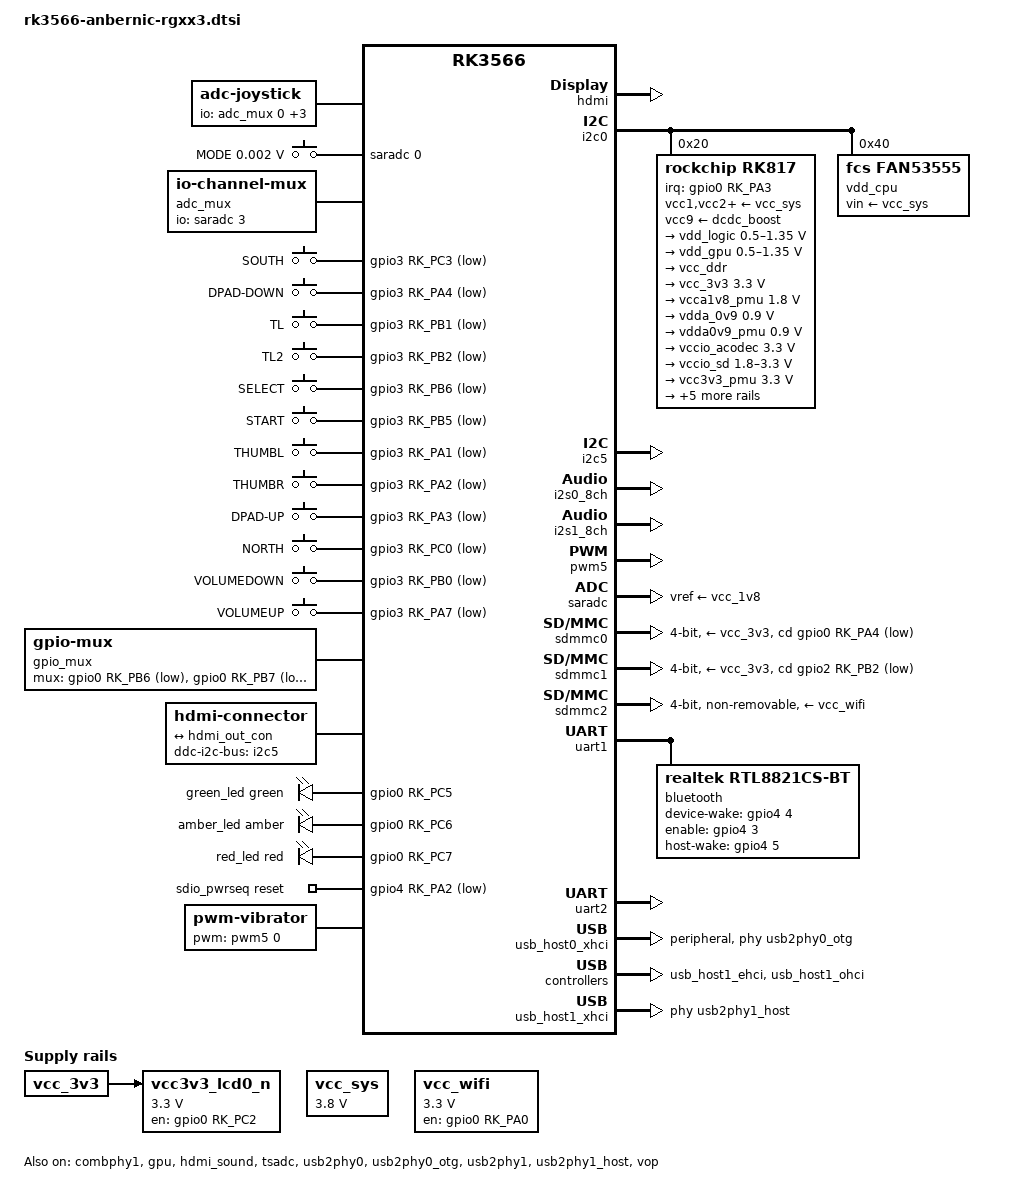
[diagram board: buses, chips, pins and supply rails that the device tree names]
// SPDX-License-Identifier: (GPL-2.0+ OR MIT)

/dts-v1/;

#include <dt-bindings/gpio/gpio.h>
#include <dt-bindings/input/linux-event-codes.h>
#include <dt-bindings/leds/common.h>
#include <dt-bindings/pinctrl/rockchip.h>
#include <dt-bindings/soc/rockchip,vop2.h>
#include "rk3566.dtsi"

/ {
	chosen: chosen {
		stdout-path = "serial2:1500000n8";
	};

	adc-joystick {
		compatible = "adc-joystick";
		io-channels = <&adc_mux 0>,
			      <&adc_mux 1>,
			      <&adc_mux 2>,
			      <&adc_mux 3>;
		pinctrl-0 = <&joy_mux_en>;
		pinctrl-names = "default";
		poll-interval = <60>;
		#address-cells = <1>;
		#size-cells = <0>;

		axis@0 {
			reg = <0>;
			abs-flat = <32>;
			abs-fuzz = <32>;
			abs-range = <1023 15>;
			linux,code = <ABS_X>;
		};

		axis@1 {
			reg = <1>;
			abs-flat = <32>;
			abs-fuzz = <32>;
			abs-range = <15 1023>;
			linux,code = <ABS_RX>;
		};

		axis@2 {
			reg = <2>;
			abs-flat = <32>;
			abs-fuzz = <32>;
			abs-range = <15 1023>;
			linux,code = <ABS_Y>;
		};

		axis@3 {
			reg = <3>;
			abs-flat = <32>;
			abs-fuzz = <32>;
			abs-range = <1023 15>;
			linux,code = <ABS_RY>;
		};
	};

	adc_keys: adc-keys {
		compatible = "adc-keys";
		io-channels = <&saradc 0>;
		io-channel-names = "buttons";
		keyup-threshold-microvolt = <1800000>;
		poll-interval = <60>;

		/*
		 * Button is mapped to F key in BSP kernel, but
		 * according to input guidelines it should be mode.
		 */
		button-mode {
			label = "MODE";
			linux,code = <BTN_MODE>;
			press-threshold-microvolt = <1750>;
		};
	};

	adc_mux: adc-mux {
		compatible = "io-channel-mux";
		channels = "left_x", "right_x", "left_y", "right_y";
		#io-channel-cells = <1>;
		io-channels = <&saradc 3>;
		io-channel-names = "parent";
		mux-controls = <&gpio_mux>;
		settle-time-us = <100>;
	};

	gpio_keys_control: gpio-keys-control {
		compatible = "gpio-keys";
		pinctrl-0 = <&btn_pins_ctrl>;
		pinctrl-names = "default";

		button-b {
			gpios = <&gpio3 RK_PC3 GPIO_ACTIVE_LOW>;
			label = "SOUTH";
			linux,code = <BTN_SOUTH>;
		};

		button-down {
			gpios = <&gpio3 RK_PA4 GPIO_ACTIVE_LOW>;
			label = "DPAD-DOWN";
			linux,code = <BTN_DPAD_DOWN>;
		};

		button-l1 {
			gpios = <&gpio3 RK_PB1 GPIO_ACTIVE_LOW>;
			label = "TL";
			linux,code = <BTN_TL>;
		};

		button-l2 {
			gpios = <&gpio3 RK_PB2 GPIO_ACTIVE_LOW>;
			label = "TL2";
			linux,code = <BTN_TL2>;
		};

		button-select {
			gpios = <&gpio3 RK_PB6 GPIO_ACTIVE_LOW>;
			label = "SELECT";
			linux,code = <BTN_SELECT>;
		};

		button-start {
			gpios = <&gpio3 RK_PB5 GPIO_ACTIVE_LOW>;
			label = "START";
			linux,code = <BTN_START>;
		};

		button-thumbl {
			gpios = <&gpio3 RK_PA1 GPIO_ACTIVE_LOW>;
			label = "THUMBL";
			linux,code = <BTN_THUMBL>;
		};

		button-thumbr {
			gpios = <&gpio3 RK_PA2 GPIO_ACTIVE_LOW>;
			label = "THUMBR";
			linux,code = <BTN_THUMBR>;
		};

		button-up {
			gpios = <&gpio3 RK_PA3 GPIO_ACTIVE_LOW>;
			label = "DPAD-UP";
			linux,code = <BTN_DPAD_UP>;
		};

		button-x {
			gpios = <&gpio3 RK_PC0 GPIO_ACTIVE_LOW>;
			label = "NORTH";
			linux,code = <BTN_NORTH>;
		};
	};

	gpio_keys_vol: gpio-keys-vol {
		compatible = "gpio-keys";
		autorepeat;
		pinctrl-0 = <&btn_pins_vol>;
		pinctrl-names = "default";

		button-vol-down {
			gpios = <&gpio3 RK_PB0 GPIO_ACTIVE_LOW>;
			label = "VOLUMEDOWN";
			linux,code = <KEY_VOLUMEDOWN>;
		};

		button-vol-up {
			gpios = <&gpio3 RK_PA7 GPIO_ACTIVE_LOW>;
			label = "VOLUMEUP";
			linux,code = <KEY_VOLUMEUP>;
		};
	};

	gpio_mux: mux-controller {
		compatible = "gpio-mux";
		mux-gpios = <&gpio0 RK_PB6 GPIO_ACTIVE_LOW>,
			    <&gpio0 RK_PB7 GPIO_ACTIVE_LOW>;
		#mux-control-cells = <0>;
	};

	hdmi-con {
		compatible = "hdmi-connector";
		ddc-i2c-bus = <&i2c5>;
		type = "c";

		port {
			hdmi_con_in: endpoint {
				remote-endpoint = <&hdmi_out_con>;
			};
		};
	};

	leds: gpio-leds {
		compatible = "gpio-leds";
		pinctrl-0 = <&led_pins>;
		pinctrl-names = "default";

		green_led: led-0 {
			color = <LED_COLOR_ID_GREEN>;
			default-state = "on";
			function = LED_FUNCTION_POWER;
			gpios = <&gpio0 RK_PC5 GPIO_ACTIVE_HIGH>;
		};

		amber_led: led-1 {
			color = <LED_COLOR_ID_AMBER>;
			function = LED_FUNCTION_CHARGING;
			gpios = <&gpio0 RK_PC6 GPIO_ACTIVE_HIGH>;
			retain-state-suspended;
		};

		red_led: led-2 {
			color = <LED_COLOR_ID_RED>;
			default-state = "off";
			function = LED_FUNCTION_STATUS;
			gpios = <&gpio0 RK_PC7 GPIO_ACTIVE_HIGH>;
		};
	};

	sdio_pwrseq: sdio-pwrseq {
		compatible = "mmc-pwrseq-simple";
		clocks = <&rk817 1>;
		clock-names = "ext_clock";
		pinctrl-0 = <&wifi_enable_h>;
		pinctrl-names = "default";
		post-power-on-delay-ms = <200>;
		reset-gpios = <&gpio4 RK_PA2 GPIO_ACTIVE_LOW>;
	};

	vcc3v3_lcd0_n: regulator-vcc3v3-lcd0 {
		compatible = "regulator-fixed";
		gpio = <&gpio0 RK_PC2 GPIO_ACTIVE_HIGH>;
		enable-active-high;
		pinctrl-0 = <&vcc_lcd_h>;
		pinctrl-names = "default";
		regulator-boot-on;
		regulator-min-microvolt = <3300000>;
		regulator-max-microvolt = <3300000>;
		regulator-name = "vcc3v3_lcd0_n";
		vin-supply = <&vcc_3v3>;
		regulator-state-mem {
			regulator-off-in-suspend;
		};
	};

	vcc_sys: regulator-vcc-sys {
		compatible = "regulator-fixed";
		regulator-always-on;
		regulator-boot-on;
		regulator-min-microvolt = <3800000>;
		regulator-max-microvolt = <3800000>;
		regulator-name = "vcc_sys";
	};

	vcc_wifi: regulator-vcc-wifi {
		compatible = "regulator-fixed";
		enable-active-high;
		gpio = <&gpio0 RK_PA0 GPIO_ACTIVE_HIGH>;
		pinctrl-0 = <&vcc_wifi_h>;
		pinctrl-names = "default";
		regulator-always-on;
		regulator-boot-on;
		regulator-min-microvolt = <3300000>;
		regulator-max-microvolt = <3300000>;
		regulator-name = "vcc_wifi";
	};

	vibrator: pwm-vibrator {
		compatible = "pwm-vibrator";
		pwm-names = "enable";
		pwms = <&pwm5 0 1000000000 0>;
	};
};

&combphy1 {
	status = "okay";
};

&cpu0 {
	cpu-supply = <&vdd_cpu>;
};

&cpu1 {
	cpu-supply = <&vdd_cpu>;
};

&cpu2 {
	cpu-supply = <&vdd_cpu>;
};

&cpu3 {
	cpu-supply = <&vdd_cpu>;
};

&gpu {
	mali-supply = <&vdd_gpu>;
	status = "okay";
};

&hdmi {
	ddc-i2c-bus = <&i2c5>;
	pinctrl-0 = <&hdmitxm0_cec>;
	pinctrl-names = "default";
	status = "okay";
};

&hdmi_in {
	hdmi_in_vp0: endpoint {
		remote-endpoint = <&vp0_out_hdmi>;
	};
};

&hdmi_out {
	hdmi_out_con: endpoint {
		remote-endpoint = <&hdmi_con_in>;
	};
};

&hdmi_sound {
	status = "okay";
};

&i2c0 {
	status = "okay";

	rk817: pmic@20 {
		compatible = "rockchip,rk817";
		reg = <0x20>;
		interrupt-parent = <&gpio0>;
		interrupts = <RK_PA3 IRQ_TYPE_LEVEL_LOW>;
		clock-output-names = "rk808-clkout1", "rk808-clkout2";
		clock-names = "mclk";
		clocks = <&cru I2S1_MCLKOUT_TX>;
		assigned-clocks = <&cru I2S1_MCLKOUT_TX>;
		assigned-clock-parents = <&cru CLK_I2S1_8CH_TX>;
		#clock-cells = <1>;
		#sound-dai-cells = <0>;
		pinctrl-names = "default";
		pinctrl-0 = <&i2s1m0_mclk>, <&pmic_int_l>;
		wakeup-source;

		vcc1-supply = <&vcc_sys>;
		vcc2-supply = <&vcc_sys>;
		vcc3-supply = <&vcc_sys>;
		vcc4-supply = <&vcc_sys>;
		vcc5-supply = <&vcc_sys>;
		vcc6-supply = <&vcc_sys>;
		vcc7-supply = <&vcc_sys>;
		vcc8-supply = <&vcc_sys>;
		vcc9-supply = <&dcdc_boost>;

		regulators {
			vdd_logic: DCDC_REG1 {
				regulator-always-on;
				regulator-boot-on;
				regulator-min-microvolt = <500000>;
				regulator-max-microvolt = <1350000>;
				regulator-init-microvolt = <900000>;
				regulator-ramp-delay = <6001>;
				regulator-initial-mode = <0x2>;
				regulator-name = "vdd_logic";
				regulator-state-mem {
					regulator-off-in-suspend;
					regulator-suspend-microvolt = <900000>;
				};
			};

			vdd_gpu: DCDC_REG2 {
				regulator-always-on;
				regulator-boot-on;
				regulator-min-microvolt = <500000>;
				regulator-max-microvolt = <1350000>;
				regulator-init-microvolt = <900000>;
				regulator-ramp-delay = <6001>;
				regulator-initial-mode = <0x2>;
				regulator-name = "vdd_gpu";
				regulator-state-mem {
					regulator-off-in-suspend;
				};
			};

			vcc_ddr: DCDC_REG3 {
				regulator-always-on;
				regulator-boot-on;
				regulator-initial-mode = <0x2>;
				regulator-name = "vcc_ddr";
				regulator-state-mem {
					regulator-on-in-suspend;
				};
			};

			vcc_3v3: DCDC_REG4 {
				regulator-always-on;
				regulator-boot-on;
				regulator-min-microvolt = <3300000>;
				regulator-max-microvolt = <3300000>;
				regulator-initial-mode = <0x2>;
				regulator-name = "vcc_3v3";
				regulator-state-mem {
					regulator-on-in-suspend;
					regulator-suspend-microvolt = <3300000>;
				};
			};

			vcca1v8_pmu: LDO_REG1 {
				regulator-always-on;
				regulator-boot-on;
				regulator-min-microvolt = <1800000>;
				regulator-max-microvolt = <1800000>;
				regulator-name = "vcca1v8_pmu";
				regulator-state-mem {
					regulator-on-in-suspend;
					regulator-suspend-microvolt = <1800000>;
				};
			};

			vdda_0v9: LDO_REG2 {
				regulator-always-on;
				regulator-boot-on;
				regulator-min-microvolt = <900000>;
				regulator-max-microvolt = <900000>;
				regulator-name = "vdda_0v9";
				regulator-state-mem {
					regulator-off-in-suspend;
				};
			};

			vdda0v9_pmu: LDO_REG3 {
				regulator-always-on;
				regulator-boot-on;
				regulator-min-microvolt = <900000>;
				regulator-max-microvolt = <900000>;
				regulator-name = "vdda0v9_pmu";
				regulator-state-mem {
					regulator-on-in-suspend;
					regulator-suspend-microvolt = <900000>;
				};
			};

			vccio_acodec: LDO_REG4 {
				regulator-always-on;
				regulator-boot-on;
				regulator-min-microvolt = <3300000>;
				regulator-max-microvolt = <3300000>;
				regulator-name = "vccio_acodec";
				regulator-state-mem {
					regulator-off-in-suspend;
				};
			};

			vccio_sd: LDO_REG5 {
				regulator-always-on;
				regulator-boot-on;
				regulator-min-microvolt = <1800000>;
				regulator-max-microvolt = <3300000>;
				regulator-name = "vccio_sd";
				regulator-state-mem {
					regulator-off-in-suspend;
				};
			};

			vcc3v3_pmu: LDO_REG6 {
				regulator-always-on;
				regulator-boot-on;
				regulator-min-microvolt = <3300000>;
				regulator-max-microvolt = <3300000>;
				regulator-name = "vcc3v3_pmu";
				regulator-state-mem {
					regulator-on-in-suspend;
					regulator-suspend-microvolt = <3300000>;
				};
			};

			vcc_1v8: LDO_REG7 {
				regulator-always-on;
				regulator-boot-on;
				regulator-min-microvolt = <1800000>;
				regulator-max-microvolt = <1800000>;
				regulator-name = "vcc_1v8";
				regulator-state-mem {
					regulator-off-in-suspend;
				};
			};

			vcc1v8_dvp: LDO_REG8 {
				regulator-always-on;
				regulator-boot-on;
				regulator-min-microvolt = <1800000>;
				regulator-max-microvolt = <3300000>;
				regulator-name = "vcc1v8_dvp";
				regulator-state-mem {
					regulator-off-in-suspend;
				};
			};

			vcc2v8_dvp: LDO_REG9 {
				regulator-always-on;
				regulator-boot-on;
				regulator-min-microvolt = <2800000>;
				regulator-max-microvolt = <2800000>;
				regulator-name = "vcc2v8_dvp";
				regulator-state-mem {
					regulator-off-in-suspend;
				};
			};

			dcdc_boost: BOOST {
				regulator-always-on;
				regulator-boot-on;
				regulator-min-microvolt = <4700000>;
				regulator-max-microvolt = <5400000>;
				regulator-name = "boost";
				regulator-state-mem {
					regulator-off-in-suspend;
				};
			};

			otg_switch: OTG_SWITCH {
				regulator-name = "otg_switch";
				regulator-state-mem {
					regulator-off-in-suspend;
				};
			};
		};
	};

	vdd_cpu: regulator@40 {
		compatible = "fcs,fan53555";
		reg = <0x40>;
		fcs,suspend-voltage-selector = <1>;
		regulator-always-on;
		regulator-boot-on;
		regulator-min-microvolt = <712500>;
		regulator-max-microvolt = <1390000>;
		regulator-init-microvolt = <900000>;
		regulator-name = "vdd_cpu";
		regulator-ramp-delay = <2300>;
		vin-supply = <&vcc_sys>;
		regulator-state-mem {
			regulator-off-in-suspend;
		};
	};
};

&i2c1 {
	/* Unknown/unused device at 0x3c */
	status = "disabled";
};

&i2c5 {
	pinctrl-0 = <&i2c5m1_xfer>;
	pinctrl-names = "default";
	status = "okay";
};

&i2s0_8ch {
	status = "okay";
};

&i2s1_8ch {
	pinctrl-0 = <&i2s1m0_sclktx
		     &i2s1m0_lrcktx
		     &i2s1m0_sdi0
		     &i2s1m0_sdo0>;
	pinctrl-names = "default";
	rockchip,trcm-sync-tx-only;
	status = "okay";
};

&pinctrl {
	gpio-btns {
		btn_pins_ctrl: btn-pins-ctrl {
			rockchip,pins =
				<3 RK_PA1 RK_FUNC_GPIO &pcfg_pull_up>,
				<3 RK_PA2 RK_FUNC_GPIO &pcfg_pull_up>,
				<3 RK_PA3 RK_FUNC_GPIO &pcfg_pull_up>,
				<3 RK_PA4 RK_FUNC_GPIO &pcfg_pull_up>,
				<3 RK_PA5 RK_FUNC_GPIO &pcfg_pull_up>,
				<3 RK_PA6 RK_FUNC_GPIO &pcfg_pull_up>,
				<3 RK_PB1 RK_FUNC_GPIO &pcfg_pull_up>,
				<3 RK_PB2 RK_FUNC_GPIO &pcfg_pull_up>,
				<3 RK_PB3 RK_FUNC_GPIO &pcfg_pull_up>,
				<3 RK_PB4 RK_FUNC_GPIO &pcfg_pull_up>,
				<3 RK_PB5 RK_FUNC_GPIO &pcfg_pull_up>,
				<3 RK_PB6 RK_FUNC_GPIO &pcfg_pull_up>,
				<3 RK_PC0 RK_FUNC_GPIO &pcfg_pull_up>,
				<3 RK_PC1 RK_FUNC_GPIO &pcfg_pull_up>,
				<3 RK_PC2 RK_FUNC_GPIO &pcfg_pull_up>,
				<3 RK_PC3 RK_FUNC_GPIO &pcfg_pull_up>;
		};

		btn_pins_vol: btn-pins-vol {
			rockchip,pins =
			<3 RK_PA7 RK_FUNC_GPIO &pcfg_pull_up>,
			<3 RK_PB0 RK_FUNC_GPIO &pcfg_pull_up>;
		};
	};

	gpio-led {
		led_pins: led-pins {
			rockchip,pins =
				<0 RK_PC5 RK_FUNC_GPIO &pcfg_pull_none>,
				<0 RK_PC6 RK_FUNC_GPIO &pcfg_pull_none>,
				<0 RK_PC7 RK_FUNC_GPIO &pcfg_pull_none>;
		};
	};

	joy-mux {
		joy_mux_en: joy-mux-en {
			rockchip,pins =
				<0 RK_PB5 RK_FUNC_GPIO &pcfg_output_low>;
		};
	};

	pmic {
		pmic_int_l: pmic-int-l {
			rockchip,pins =
				<0 RK_PA3 RK_FUNC_GPIO &pcfg_pull_up>;
		};
	};

	sdio-pwrseq {
		wifi_enable_h: wifi-enable-h {
			rockchip,pins =
				<4 RK_PA2 RK_FUNC_GPIO &pcfg_pull_none>;
		};
	};

	vcc3v3-lcd {
		vcc_lcd_h: vcc-lcd-h {
			rockchip,pins =
				<0 RK_PC2 RK_FUNC_GPIO &pcfg_pull_none>;
		};
	};

	vcc-wifi {
		vcc_wifi_h: vcc-wifi-h {
			rockchip,pins =
				<0 RK_PA0 RK_FUNC_GPIO &pcfg_pull_none>;
		};
	};
};

&pmu_io_domains {
	status = "okay";
	pmuio1-supply = <&vcc3v3_pmu>;
	pmuio2-supply = <&vcc3v3_pmu>;
	vccio1-supply = <&vccio_acodec>;
	vccio3-supply = <&vccio_sd>;
	vccio4-supply = <&vcc_1v8>;
	vccio5-supply = <&vcc_3v3>;
	vccio6-supply = <&vcc1v8_dvp>;
	vccio7-supply = <&vcc_3v3>;
};

&pwm5 {
	status = "okay";
};

&saradc {
	vref-supply = <&vcc_1v8>;
	status = "okay";
};

&sdmmc0 {
	bus-width = <4>;
	cap-sd-highspeed;
	cd-gpios = <&gpio0 RK_PA4 GPIO_ACTIVE_LOW>;
	disable-wp;
	pinctrl-0 = <&sdmmc0_bus4 &sdmmc0_clk &sdmmc0_cmd &sdmmc0_det>;
	pinctrl-names = "default";
	sd-uhs-sdr104;
	vmmc-supply = <&vcc_3v3>;
	vqmmc-supply = <&vccio_sd>;
	status = "okay";
};

&sdmmc1 {
	bus-width = <4>;
	cap-sd-highspeed;
	cd-gpios = <&gpio2 RK_PB2 GPIO_ACTIVE_LOW>;
	disable-wp;
	pinctrl-0 = <&sdmmc1_bus4 &sdmmc1_cmd &sdmmc1_clk &sdmmc1_det>;
	pinctrl-names = "default";
	sd-uhs-sdr104;
	vmmc-supply = <&vcc_3v3>;
	vqmmc-supply = <&vcc1v8_dvp>;
	status = "okay";
};

&sdmmc2 {
	bus-width = <4>;
	cap-sd-highspeed;
	cap-sdio-irq;
	keep-power-in-suspend;
	mmc-pwrseq = <&sdio_pwrseq>;
	non-removable;
	pinctrl-0 = <&sdmmc2m0_bus4 &sdmmc2m0_cmd &sdmmc2m0_clk>;
	pinctrl-names = "default";
	vmmc-supply = <&vcc_wifi>;
	vqmmc-supply = <&vcca1v8_pmu>;
	status = "okay";
};

&tsadc {
	rockchip,hw-tshut-mode = <1>;
	rockchip,hw-tshut-polarity = <0>;
	status = "okay";
};

&uart1 {
	pinctrl-0 = <&uart1m1_xfer &uart1m1_ctsn &uart1m1_rtsn>;
	pinctrl-names = "default";
	uart-has-rtscts;
	status = "okay";

	bluetooth {
		compatible = "realtek,rtl8821cs-bt", "realtek,rtl8822cs-bt";
		device-wake-gpios = <&gpio4 4 GPIO_ACTIVE_HIGH>;
		enable-gpios = <&gpio4 3 GPIO_ACTIVE_HIGH>;
		host-wake-gpios = <&gpio4 5 GPIO_ACTIVE_HIGH>;
	};
};

&uart2 {
	status = "okay";
};

/*
 * Lack the schematics to verify, but port works as a peripheral
 * (and not a host or OTG port).
 */
&usb_host0_xhci {
	dr_mode = "peripheral";
	phys = <&usb2phy0_otg>;
	phy-names = "usb2-phy";
	status = "okay";
};

&usb_host1_ehci {
	status = "okay";
};

&usb_host1_ohci {
	status = "okay";
};

&usb_host1_xhci {
	phy-names = "usb2-phy", "usb3-phy";
	phys = <&usb2phy1_host>, <&combphy1 PHY_TYPE_USB3>;
	status = "okay";
};

&usb2phy0 {
	status = "okay";
};

&usb2phy0_otg {
	status = "okay";
};

&usb2phy1 {
	status = "okay";
};

&usb2phy1_host {
	status = "okay";
};

&vop {
	assigned-clocks = <&cru DCLK_VOP0>, <&cru DCLK_VOP1>;
	assigned-clock-parents = <&pmucru PLL_HPLL>, <&cru PLL_VPLL>;
	status = "okay";
};

&vop_mmu {
	status = "okay";
};

&vp0 {
	vp0_out_hdmi: endpoint@ROCKCHIP_VOP2_EP_HDMI0 {
		reg = <ROCKCHIP_VOP2_EP_HDMI0>;
		remote-endpoint = <&hdmi_in_vp0>;
	};
};
